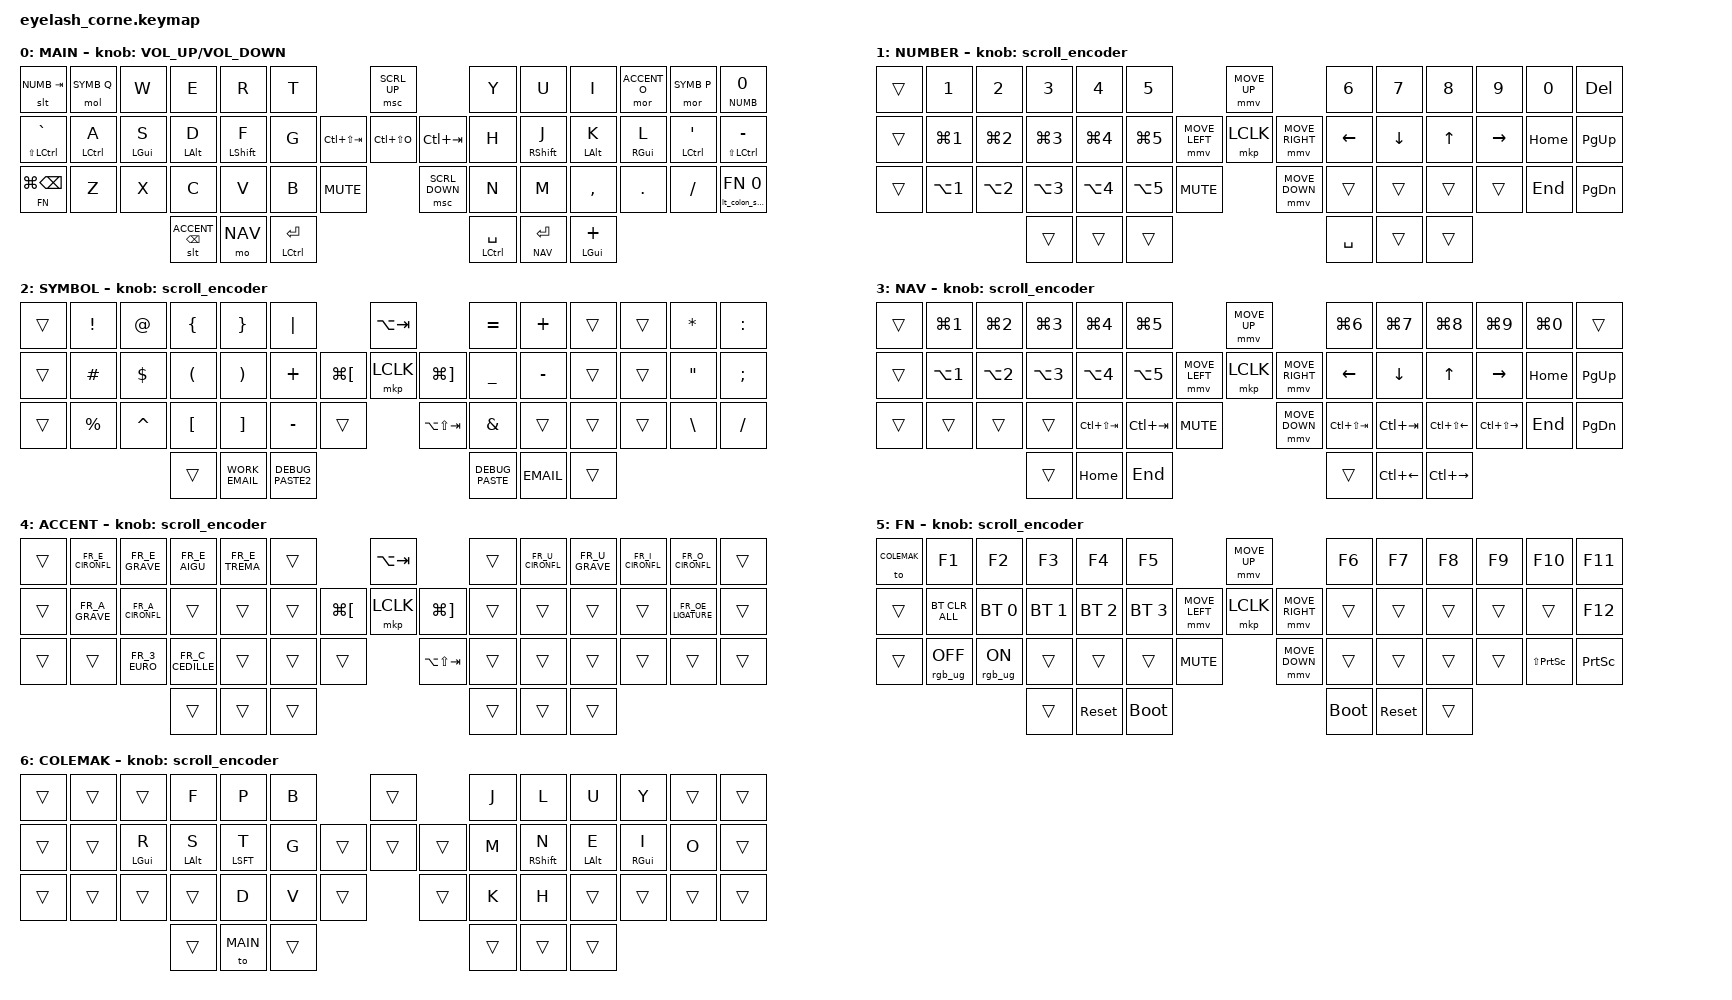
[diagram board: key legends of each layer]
#define ZMK_POINTING_DEFAULT_MOVE_VAL 1500  
#define ZMK_POINTING_DEFAULT_SCRL_VAL 20   

#include <behaviors.dtsi>
#include <dt-bindings/zmk/bt.h>
#include <dt-bindings/zmk/keys.h>
#include <dt-bindings/zmk/mouse.h>
#include <dt-bindings/zmk/outputs.h>
#include <dt-bindings/zmk/rgb.h>

#include <input/processors.dtsi>
#include "includes/local.h"
#include "includes/eyelash_layout.h"
#include "includes/std.h"

#define MAIN 0
#define NUMB 1
#define SYMB 2
#define NAV 3
#define ACCENT 4
#define FN 5
#define COLEMAK 6

&mmv_input_listener {
    input-processors = <&zip_xy_scaler 2 1>;
};

&msc_input_listener {
    input-processors = <&zip_xy_scaler 2 1>;
};

#define ZMK_MOUSE_DEFAULT_MOVE_VAL 1200  // 600
#define ZMK_MOUSE_DEFAULT_SCRL_VAL 20    // 10

/ {
    behaviors {
        #include "includes/behaviors.h"
        #include "includes/fr.h"
    };

    combos {
        #include "includes/combos.h"
    };
    
    macros {
        #include "includes/macros.h"
    };

    rgb_encoder: rgb_encoder {
        compatible = "zmk,behavior-sensor-rotate";
        #sensor-binding-cells = <0>;
        bindings = <&rgb_ug RGB_BRI>, <&rgb_ug RGB_BRD>;
    };

    scroll_encoder: scroll_encoder {
        compatible = "zmk,behavior-sensor-rotate";
        #sensor-binding-cells = <0>;
        bindings = <&msc SCRL_DOWN>, <&msc SCRL_UP>;
        tap-ms = <30>;
    };

    keymap {
        compatible = "zmk,keymap";

        default_layer {
            display-name = "MAIN";
            bindings = <
//    ╭──────────────────┬────────────┬────────────┬─────────────────┬────────────┬──────────────╮                            ╭───────────────╮           ╭──────────────┬────────────┬────────────┬──────────────┬────────────┬────────────────────╮
//    │   slt NUMB tab   │ mol SYMB Q │     W      │        E        │     R      │      T       │                            │  msc SCRL_up  │           │      Y       │     U      │     I      │ mor ACCENT O │ mor SYMB P │   lt_bspc NUMB 0   │
//    ├──────────────────┼────────────┼────────────┼─────────────────┼────────────┼──────────────┤          ╭─────────────────┼───────────────┼───────────┼──────────────┼────────────┼────────────┼──────────────┼────────────┼────────────────────┤
//    │ mt lsft(lctl) `  │ hml lctl A │ hml lgui S │   hml lalt D    │ hml lsft F │      G       │          │ lctl(lsft(tab)) │ lctl(lsft(O)) │ lctl(tab) │      H       │ hmr rsft J │ hmr lalt K │  hmr rgui L  │ hmr lctl ' │  hmr lsft(lctl) -  │
//    ├──────────────────┼────────────┼────────────┼─────────────────┼────────────┼──────────────┤   ╭──────┼─────────────────┼───────────────┼───────────┼──────────────┼────────────┼────────────┼──────────────┼────────────┼────────────────────┤
//    │ lt FN lgui(bspc) │     Z      │     X      │        C        │     V      │      B       │   │ mute │                 │ msc SCRL_down │           │      N       │     M      │     ,      │      .       │     /      │ lt_colon_semi FN 0 │
//    ╰──────────────────┴────────────┴────────────┼─────────────────┼────────────┼──────────────┤   ╰──────╯                 ╰───────────────╯           ├──────────────┼────────────┼────────────┼──────────────┴────────────┴────────────────────╯
//                                                 │ slt ACCENT bspc │   mo NAV   │ hml lctl ent │                                                        │ hmr lctl spc │ lt NAV ent │ hmr lgui + │
//                                                 ╰─────────────────┴────────────┴──────────────╯                                                        ╰──────────────┴────────────┴────────────╯
  &slt NUMB TAB         &mol SYMB Q    &kp W         &kp E              &kp R          &kp T                                                 &msc SCRL_UP                   &kp Y              &kp U           &kp I            &mor ACCENT O   &mor SYMB P      &lt_bspc NUMB 0
  &mt LS(LCTRL) GRAVE   &hml LCTRL A   &hml LGUI S   &hml LALT D        &hml LSHFT F   &kp G                               &kp LC(LS(TAB))   &kp LC(LS(O))    &kp LC(TAB)   &kp H              &hmr RSHFT J    &hmr LALT K      &hmr RGUI L     &hmr LCTRL SQT   &hmr LS(LCTRL) MINUS
  &lt FN LG(BSPC)       &kp Z          &kp X         &kp C              &kp V          &kp B                  &kp C_MUTE                     &msc SCRL_DOWN                 &kp N              &kp M           &kp COMMA        &kp DOT         &kp FSLH         &lt_colon_semi FN 0
                                                     &slt ACCENT BSPC   &mo NAV        &hml LCTRL ENTER                                                                     &hmr LCTRL SPACE   &lt NAV ENTER   &hmr LGUI PLUS
            >;
            sensor-bindings = <&inc_dec_kp C_VOLUME_UP C_VOLUME_DOWN>;
        };

        lower_layer {
            display-name = "NUMBER";
            bindings = <
//    ╭────┬─────────┬─────────┬─────────┬─────────┬─────────╮                 ╭──────╮      ╭──────┬──────┬────┬──────┬──────┬──────╮
//    │    │    1    │    2    │    3    │    4    │    5    │                 │ 🖱️ ↑ │      │  6   │  7   │ 8  │  9   │  0   │ del  │
//    ├────┼─────────┼─────────┼─────────┼─────────┼─────────┤          ╭──────┼──────┼──────┼──────┼──────┼────┼──────┼──────┼──────┤
//    │    │ lgui(1) │ lgui(2) │ lgui(3) │ lgui(4) │ lgui(5) │          │ 🖱️ ← │ lclk │ 🖱️ → │ left │ down │ up │ rght │ home │ pgup │
//    ├────┼─────────┼─────────┼─────────┼─────────┼─────────┤   ╭──────┼──────┼──────┼──────┼──────┼──────┼────┼──────┼──────┼──────┤
//    │    │ lalt(1) │ lalt(2) │ lalt(3) │ lalt(4) │ lalt(5) │   │ mute │      │ 🖱️ ↓ │      │      │      │    │      │ end  │ pgdn │
//    ╰────┴─────────┴─────────┼─────────┼─────────┼─────────┤   ╰──────╯      ╰──────╯      ├──────┼──────┼────┼──────┴──────┴──────╯
//                             │         │         │         │                               │ spc  │      │    │
//                             ╰─────────┴─────────┴─────────╯                               ╰──────┴──────┴────╯
  &trans   &kp N1       &kp N2       &kp N3       &kp N4       &kp N5                                         &mmv MOVE_UP                       &kp N6      &kp N7     &kp N8   &kp N9      &kp N0     &kp DEL
  &trans   &kp LG(N1)   &kp LG(N2)   &kp LG(N3)   &kp LG(N4)   &kp LG(N5)                    &mmv MOVE_LEFT   &mkp LCLK        &mmv MOVE_RIGHT   &kp LEFT    &kp DOWN   &kp UP   &kp RIGHT   &kp HOME   &kp PG_UP
  &trans   &kp LA(N1)   &kp LA(N2)   &kp LA(N3)   &kp LA(N4)   &kp LA(N5)       &kp C_MUTE                    &mmv MOVE_DOWN                     &trans      &trans     &trans   &trans      &kp END    &kp PG_DN
                                     &trans       &trans       &trans                                                                            &kp SPACE   &trans     &trans
            >;
            sensor-bindings = <&scroll_encoder>;
        };

        raise_layer {
            display-name = "SYMBOL";
            bindings = <
//    ╭────┬───┬───┬────┬────────────┬──────────────╮                  ╭─────────────────╮         ╭─────────────┬───────┬────┬────┬───┬───╮
//    │    │ ! │ @ │ {  │     }      │      |       │                  │    lalt(tab)    │         │      =      │   +   │    │    │ * │ : │
//    ├────┼───┼───┼────┼────────────┼──────────────┤        ╭─────────┼─────────────────┼─────────┼─────────────┼───────┼────┼────┼───┼───┤
//    │    │ # │ $ │ (  │     )      │      +       │        │ lgui([) │      lclk       │ lgui(]) │      _      │   -   │    │    │ " │ ; │
//    ├────┼───┼───┼────┼────────────┼──────────────┤   ╭────┼─────────┼─────────────────┼─────────┼─────────────┼───────┼────┼────┼───┼───┤
//    │    │ % │ ^ │ [  │     ]      │      -       │   │    │         │ lalt(lsft(tab)) │         │             │       │    │    │ \ │ / │
//    ╰────┴───┴───┼────┼────────────┼──────────────┤   ╰────╯         ╰─────────────────╯         ├─────────────┼───────┼────┼────┴───┴───╯
//                 │    │ WORK_EMAIL │ DEBUG_PASTE2 │                                              │ DEBUG_PASTE │ EMAIL │    │
//                 ╰────┴────────────┴──────────────╯                                              ╰─────────────┴───────┴────╯
  &trans   &kp EXCL    &kp AT       &kp LBRC   &kp RBRC      &kp PIPE                                    &kp LA(TAB)                      &kp EQUAL      &kp PLUS    &trans   &trans   &kp ASTRK   &kp COLON
  &trans   &kp HASH    &kp DOLLAR   &kp LPAR   &kp RPAR      &kp PLUS                     &kp LG(LBKT)   &mkp LCLK         &kp LG(RBKT)   &kp UNDER      &kp MINUS   &trans   &trans   &kp DQT     &kp SEMI
  &trans   &kp PRCNT   &kp CARET    &kp LBKT   &kp RBKT      &kp MINUS           &trans                  &kp LA(LS(TAB))                  &kp AMPS       &trans      &trans   &trans   &kp BSLH    &kp SLASH
                                    &trans     &WORK_EMAIL   &DEBUG_PASTE2                                                                &DEBUG_PASTE   &EMAIL      &trans
            >;
            sensor-bindings = <&scroll_encoder>;
        };

        nav {
            display-name = "NAV";
            bindings = <
//    ╭────┬─────────┬─────────┬─────────┬─────────────────┬───────────╮                 ╭──────╮      ╭─────────────────┬────────────┬──────────────────┬──────────────────┬─────────┬──────╮
//    │    │ lgui(1) │ lgui(2) │ lgui(3) │     lgui(4)     │  lgui(5)  │                 │ 🖱️ ↑ │      │     lgui(6)     │  lgui(7)   │     lgui(8)      │     lgui(9)      │ lgui(0) │      │
//    ├────┼─────────┼─────────┼─────────┼─────────────────┼───────────┤          ╭──────┼──────┼──────┼─────────────────┼────────────┼──────────────────┼──────────────────┼─────────┼──────┤
//    │    │ lalt(1) │ lalt(2) │ lalt(3) │     lalt(4)     │  lalt(5)  │          │ 🖱️ ← │ lclk │ 🖱️ → │      left       │    down    │        up        │       rght       │  home   │ pgup │
//    ├────┼─────────┼─────────┼─────────┼─────────────────┼───────────┤   ╭──────┼──────┼──────┼──────┼─────────────────┼────────────┼──────────────────┼──────────────────┼─────────┼──────┤
//    │    │         │         │         │ lctl(lsft(tab)) │ lctl(tab) │   │ mute │      │ 🖱️ ↓ │      │ lctl(lsft(tab)) │ lctl(tab)  │ lctl(lsft(left)) │ lctl(lsft(rght)) │   end   │ pgdn │
//    ╰────┴─────────┴─────────┼─────────┼─────────────────┼───────────┤   ╰──────╯      ╰──────╯      ├─────────────────┼────────────┼──────────────────┼──────────────────┴─────────┴──────╯
//                             │         │      home       │    end    │                               │                 │ lctl(left) │    lctl(rght)    │
//                             ╰─────────┴─────────────────┴───────────╯                               ╰─────────────────┴────────────┴──────────────────╯
  &trans   &kp LG(N1)   &kp LG(N2)   &kp LG(N3)   &kp LG(N4)        &kp LG(N5)                                      &mmv MOVE_UP                       &kp LG(N6)        &kp LG(N7)     &kp LG(N8)         &kp LG(N9)          &kp LG(N0)   &trans
  &trans   &kp LA(N1)   &kp LA(N2)   &kp LA(N3)   &kp LA(N4)        &kp LA(N5)                     &mmv MOVE_LEFT   &mkp LCLK        &mmv MOVE_RIGHT   &kp LEFT          &kp DOWN       &kp UP             &kp RIGHT           &kp HOME     &kp PG_UP
  &trans   &trans       &trans       &trans       &kp LC(LS(TAB))   &kp LC(TAB)       &kp C_MUTE                    &mmv MOVE_DOWN                     &kp LC(LS(TAB))   &kp LC(TAB)    &kp LC(LS(LEFT))   &kp LC(LS(RIGHT))   &kp END      &kp PG_DN
                                     &trans       &kp HOME          &kp END                                                                            &trans            &kp LC(LEFT)   &kp LC(RIGHT)
            >;
            sensor-bindings = <&scroll_encoder>;
        };

        accent {
            display-name = "ACCENT";
            bindings = <
//    ╭────┬────┬───┬────┬────┬────╮                  ╭─────────────────╮         ╭────┬────┬────┬────┬────┬────╮
//    │    │ ê  │ è │ é  │ ë  │    │                  │    lalt(tab)    │         │    │ û  │ ù  │ î  │ ô  │    │
//    ├────┼────┼───┼────┼────┼────┤        ╭─────────┼─────────────────┼─────────┼────┼────┼────┼────┼────┼────┤
//    │    │ à  │ â │    │    │    │        │ lgui([) │      lclk       │ lgui(]) │    │    │    │    │ œ  │    │
//    ├────┼────┼───┼────┼────┼────┤   ╭────┼─────────┼─────────────────┼─────────┼────┼────┼────┼────┼────┼────┤
//    │    │    │ € │ ç  │    │    │   │    │         │ lalt(lsft(tab)) │         │    │    │    │    │    │    │
//    ╰────┴────┴───┼────┼────┼────┤   ╰────╯         ╰─────────────────╯         ├────┼────┼────┼────┴────┴────╯
//                  │    │    │    │                                              │    │    │    │
//                  ╰────┴────┴────╯                                              ╰────┴────┴────╯
  &trans   &FR_E_CIRONFL   &FR_E_GRAVE     &FR_E_AIGU      &FR_E_TREMA   &trans                               &kp LA(TAB)                      &trans   &FR_U_CIRONFL   &FR_U_GRAVE   &FR_I_CIRONFL   &FR_O_CIRONFL     &trans
  &trans   &FR_A_GRAVE     &FR_A_CIRONFL   &trans          &trans        &trans                &kp LG(LBKT)   &mkp LCLK         &kp LG(RBKT)   &trans   &trans          &trans        &trans          &FR_OE_LIGATURE   &trans
  &trans   &trans          &FR_3_EURO      &FR_C_CEDILLE   &trans        &trans       &trans                  &kp LA(LS(TAB))                  &trans   &trans          &trans        &trans          &trans            &trans
                                           &trans          &trans        &trans                                                                &trans   &trans          &trans
            >;
            sensor-bindings = <&scroll_encoder>;
        };


        fn {
            display-name = "FN";
            bindings = <
//    ╭────────────┬────────────┬──────────┬──────────┬──────────┬──────────╮                 ╭──────╮      ╭────┬────┬────┬────┬────────────┬──────╮
//    │ to COLEMAK │     f1     │    f2    │    f3    │    f4    │    f5    │                 │ 🖱️ ↑ │      │ f6 │ f7 │ f8 │ f9 │    f10     │ f11  │
//    ├────────────┼────────────┼──────────┼──────────┼──────────┼──────────┤          ╭──────┼──────┼──────┼────┼────┼────┼────┼────────────┼──────┤
//    │            │ bt_clr_ALL │ bt_sel 0 │ bt_sel 1 │ bt_sel 2 │ bt_sel 3 │          │ 🖱️ ← │ lclk │ 🖱️ → │    │    │    │    │            │ f12  │
//    ├────────────┼────────────┼──────────┼──────────┼──────────┼──────────┤   ╭──────┼──────┼──────┼──────┼────┼────┼────┼────┼────────────┼──────┤
//    │            │  ug_ off   │  ug_ on  │          │          │          │   │ mute │      │ 🖱️ ↓ │      │    │    │    │    │ lsft(pscr) │ pscr │
//    ╰────────────┴────────────┴──────────┼──────────┼──────────┼──────────┤   ╰──────╯      ╰──────╯      ├────┼────┼────┼────┴────────────┴──────╯
//                                         │          │    🔄    │    💾    │                               │ 💾 │ 🔄 │    │
//                                         ╰──────────┴──────────┴──────────╯                               ╰────┴────┴────╯
  &to COLEMAK   &kp F1            &kp F2           &kp F3         &kp F4         &kp F5                                           &mmv MOVE_UP                       &kp F6        &kp F7       &kp F8   &kp F9   &kp F10               &kp F11
  &trans        &bt BT_CLR_ALL    &bt BT_SEL 0     &bt BT_SEL 1   &bt BT_SEL 2   &bt BT_SEL 3                    &mmv MOVE_LEFT   &mkp LCLK        &mmv MOVE_RIGHT   &trans        &trans       &trans   &trans   &trans                &kp F12
  &trans        &rgb_ug RGB_OFF   &rgb_ug RGB_ON   &trans         &trans         &trans             &kp C_MUTE                    &mmv MOVE_DOWN                     &trans        &trans       &trans   &trans   &kp LS(PRINTSCREEN)   &kp PRINTSCREEN
                                                   &trans         &sys_reset     &bootloader                                                                         &bootloader   &sys_reset   &trans
            >;
            sensor-bindings = <&scroll_encoder>;
        };

        colemak_layer {
            display-name = "COLEMAK";
            bindings = <
//    ╭────┬────┬────────────┬────────────┬──────────────┬────╮             ╭────╮    ╭────┬────────────┬────────────┬────────────┬────┬────╮
//    │    │    │            │     F      │      P       │ B  │             │    │    │ J  │     L      │     U      │     Y      │    │    │
//    ├────┼────┼────────────┼────────────┼──────────────┼────┤        ╭────┼────┼────┼────┼────────────┼────────────┼────────────┼────┼────┤
//    │    │    │ hmr lgui R │ hmr lalt S │ hmr lsftFT T │ G  │        │    │    │    │ M  │ hmr rsft N │ hmr lalt E │ hmr rgui I │ O  │    │
//    ├────┼────┼────────────┼────────────┼──────────────┼────┤   ╭────┼────┼────┼────┼────┼────────────┼────────────┼────────────┼────┼────┤
//    │    │    │            │            │      D       │ V  │   │    │    │    │    │ K  │     H      │            │            │    │    │
//    ╰────┴────┴────────────┼────────────┼──────────────┼────┤   ╰────╯    ╰────╯    ├────┼────────────┼────────────┼────────────┴────┴────╯
//                           │            │   to MAIN    │    │                       │    │            │            │
//                           ╰────────────┴──────────────┴────╯                       ╰────┴────────────┴────────────╯
  &trans   &trans   &trans        &kp F         &kp P         &kp B                          &trans            &kp J    &kp L          &kp U         &kp Y         &trans   &trans
  &trans   &trans   &hmr LGUI R   &hmr LALT S   &hmr LSFT T   &kp G                 &trans   &trans   &trans   &kp M    &hmr RSHFT N   &hmr LALT E   &hmr RGUI I   &kp O    &trans
  &trans   &trans   &trans        &trans        &kp D         &kp V        &trans            &trans            &kp K    &kp H          &trans        &trans        &trans   &trans
                                  &trans        &to MAIN      &trans                                           &trans   &trans         &trans
            >;
            sensor-bindings = <&scroll_encoder>;
        };
    };
};
